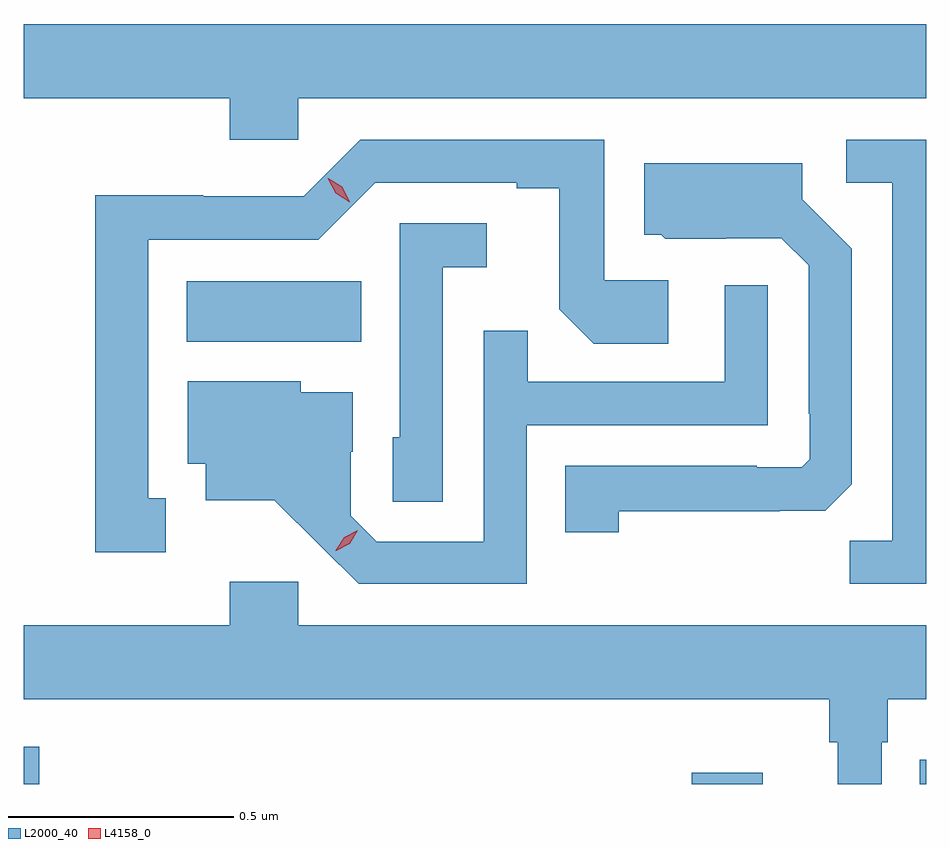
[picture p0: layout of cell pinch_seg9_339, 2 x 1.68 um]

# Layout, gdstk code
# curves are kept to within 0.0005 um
import gdstk
lib = gdstk.Library(unit=1e-6, precision=1e-09)
def R(c, l, rs):  # rectangles x0, y0, x1, y1
    for r in rs: c.add(gdstk.rectangle(r[:2], r[2:], *l))
def P(c, l, *ps):  # polygons
    for p in ps: c.add(gdstk.Polygon(p, *l))
L2000_40 = (2000, 40)
L4158_0 = (4158, 0)

pinch_seg9_339 = lib.new_cell('pinch_seg9_339')
R(pinch_seg9_339, L2000_40, [(616.528,1193.568,616.562,1193.65), (618.008,1193.568,618.166,1193.593), (618.514,1193.568,618.528,1193.622), (616.889,1194.548,617.276,1194.682)])
P(pinch_seg9_339, L2000_40, [(617.136,1195.088),(618.528,1195.088),(618.528,1195.252),(616.528,1195.252),(616.528,1195.088),(616.985,1195.088),(616.985,1194.995),(617.136,1194.995)],
  [(616.843,1194.201),(616.804,1194.201),(616.804,1194.774),(617.181,1194.774),(617.307,1194.9),(617.621,1194.9),(617.621,1194.888),(617.715,1194.888),(617.715,1194.62),(617.791,1194.544),(617.956,1194.544),(617.956,1194.684),(617.814,1194.684),(617.814,1194.996),(617.274,1194.996),(617.148,1194.87),(616.926,1194.87),(616.926,1194.872),(616.686,1194.872),(616.686,1194.081),(616.843,1194.081)],
  [(618.528,1194.996),(618.351,1194.996),(618.351,1194.9),(618.453,1194.9),(618.453,1194.107),(618.358,1194.107),(618.358,1194.012),(618.528,1194.012)],
  [(617.847,1194.172),(618.203,1194.172),(618.203,1194.173),(618.304,1194.173),(618.363,1194.232),(618.363,1194.754),(618.253,1194.864),(618.253,1194.943),(617.903,1194.943),(617.903,1194.785),(617.941,1194.785),(617.95,1194.776),(618.084,1194.776),(618.084,1194.777),(618.207,1194.777),(618.267,1194.717),(618.267,1194.388),(618.27,1194.388),(618.27,1194.288),(618.252,1194.27),(618.152,1194.27),(618.152,1194.273),(617.728,1194.273),(617.728,1194.126),(617.847,1194.126)],
  [(617.457,1194.713),(617.554,1194.713),(617.554,1194.81),(617.361,1194.81),(617.361,1194.336),(617.346,1194.336),(617.346,1194.193),(617.457,1194.193)],
  [(617.643,1194.363),(618.177,1194.363),(618.177,1194.673),(618.081,1194.673),(618.081,1194.459),(617.645,1194.459),(617.645,1194.572),(617.547,1194.572),(617.547,1194.105),(617.31,1194.105),(617.253,1194.162),(617.253,1194.304),(617.257,1194.304),(617.257,1194.436),(617.142,1194.436),(617.142,1194.46),(616.892,1194.46),(616.892,1194.278),(616.931,1194.278),(616.931,1194.197),(617.083,1194.197),(617.27,1194.012),(617.643,1194.012)],
  [(618.429,1193.66),(618.443,1193.66),(618.443,1193.756),(618.528,1193.756),(618.528,1193.92),(617.136,1193.92),(617.136,1194.016),(616.985,1194.016),(616.985,1193.92),(616.528,1193.92),(616.528,1193.756),(618.313,1193.756),(618.313,1193.66),(618.332,1193.66),(618.332,1193.568),(618.429,1193.568)])
P(pinch_seg9_339, L4158_0, [(617.22,1194.085),(617.22,1194.086),(617.238,1194.115),(617.268,1194.13),(617.268,1194.13),(617.268,1194.13),(617.251,1194.1),(617.221,1194.085)],
  [(617.251,1194.857),(617.219,1194.877),(617.202,1194.91),(617.202,1194.91),(617.203,1194.91),(617.234,1194.891),(617.251,1194.858),(617.251,1194.857)])

lib.write_gds('pinch_seg9_339.gds')
